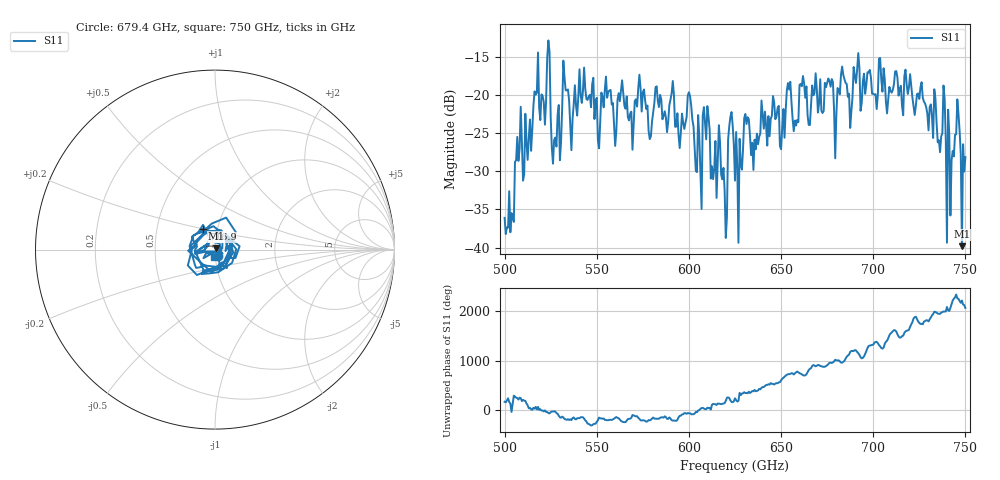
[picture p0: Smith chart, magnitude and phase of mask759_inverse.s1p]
!Created with skrf (http://scikit-rf.org).
# GHz S MA R 50.0
!freq magS11 angS11
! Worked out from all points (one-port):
!   401 points, 500 GHz to 750 GHz, reference 50 ohm
!   lowest |S11| = -39.8 dB at 748.1 GHz (marker M1), VSWR 1.02, Z = 50.6 + j0.824 ohm
!   |S11| at or under -10 dB: start of sweep to end of sweep
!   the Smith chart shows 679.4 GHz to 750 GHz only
!   S11 on the Smith chart (normalised r, x): 679.4 GHz: 1.03, -0.07; 716.9 GHz: 0.86, +0.20; 750 GHz: 0.99, -0.08
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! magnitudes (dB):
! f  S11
! 500 GHz  -36.1
! 516.9 GHz  -19.9
! 523.8 GHz  -12.8
! 526.9 GHz  -25.9
! 531.2 GHz  -21.6
! 562.5 GHz  -20.8
! 579.4 GHz  -25.4
! 590.6 GHz  -19.8
! 593.8 GHz  -22.4
! 600.6 GHz  -20.1
! 605.6 GHz  -25.4
! 609.4 GHz  -25.8
! 619.4 GHz  -32.5
! 622.5 GHz  -22.9
! 625 GHz  -31.2
! 627.5 GHz  -25.7
! 656.2 GHz  -23.1
! 679.4 GHz  -28.3
! 683.8 GHz  -17.3
! 687.5 GHz  -24.3
! 690.6 GHz  -18.4
! 716.9 GHz  -17.5
! 718.8 GHz  -19.8
! 738.1 GHz  -18.7
! 741.2 GHz  -25.1
! 745.6 GHz  -20.6
! 748.1 GHz  -39.8
! 750 GHz  -28.1
